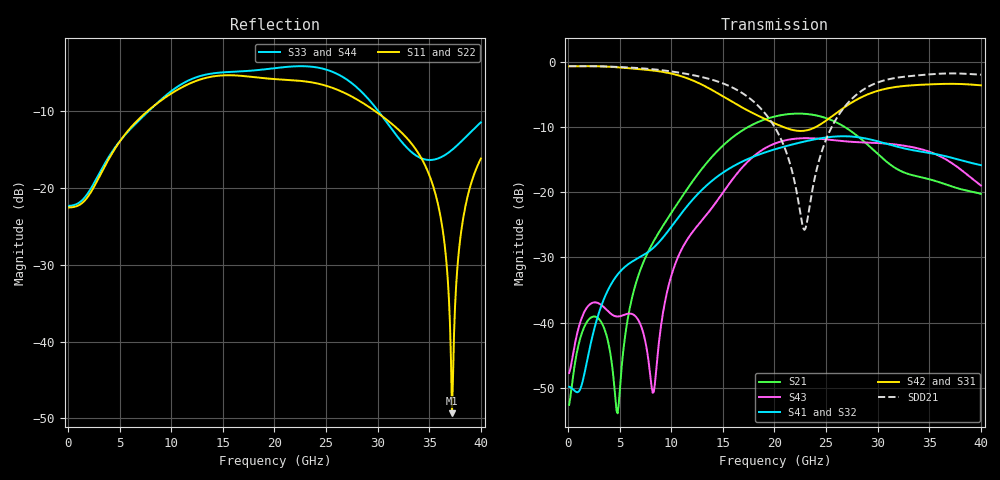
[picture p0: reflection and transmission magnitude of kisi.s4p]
! E_s8_L1L3_p1200_round_g2: pair L1→L3, pitch 1.2 mm, two round antipads, 2 GND vias
! stackup: 8-layer 1.6 mm FR-4 (generic)
! ports: 1 P near, 2 N near, 3 P far, 4 N far
! kisi-fdtd, conformal, dfine 0.0175 mm (the cell at metal ÷ 2), 1765764 cells
# Hz S RI R 50
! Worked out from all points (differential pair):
!   400 points, 100 MHz to 40 GHz, reference 50 ohm
!   strongest paths, dB at 100 MHz, 10.1 GHz, 20.1 GHz, 30.1 GHz, 40 GHz:
!     S42: -0.7, -1.8, -9.5, -4.4, -3.6
!     S31: -0.7, -1.8, -9.5, -4.4, -3.6
!     S41: -49.8, -25.1, -13.4, -12.2, -15.8
!     S32: -49.8, -25.1, -13.4, -12.2, -15.8
!     S43: -47.7, -32.3, -12.5, -12.5, -19.0
!     S21: -52.6, -22.9, -8.4, -14.3, -20.2
!   taken as a pair (ports 2,1 in; 4,3 out), SDD21 dB: -0.7, -1.5, -10.2, -3.1, -2.0
!   lowest |S11| = -49.4 dB at 37.2 GHz (marker M1), VSWR 1.01, Z = 50 + j0.34 ohm
!   |S11| at or under -10 dB: start of sweep to 7.666 GHz; 29.79 GHz to end of sweep
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1e8  -0.0748 -0.000337  -0.0022 0.000804  0.9232 -0.0338  -0.00323 -3.07e-05
     -0.0022 0.000804  -0.0748 -0.000337  -0.00323 -3.07e-05  0.9232 -0.0338
     0.9232 -0.0338  -0.00323 -3.07e-05  -0.0767 -5.85e-05  -0.00396 0.0011
     -0.00323 -3.07e-05  0.9232 -0.0338  -0.00396 0.0011  -0.0767 -5.85e-05
8.2e9  -0.018 0.3382  0.0395 0.0102  -0.8558 -0.0678  0.016 0.0335
       0.0395 0.0102  -0.018 0.3382  0.016 0.0335  -0.8558 -0.0678
       -0.8558 -0.0678  0.016 0.0335  0.00659 0.3368  0.00287 0.000359
       0.016 0.0335  -0.8558 -0.0678  0.00287 0.000359  0.00659 0.3368
1.56e10  0.075 -0.5393  -0.2503 0.0163  0.4522 0.2356  -0.1507 -0.0165
         -0.2503 0.0163  0.075 -0.5393  -0.1507 -0.0165  0.4522 0.2356
         0.4522 0.2356  -0.1507 -0.0165  0.0223 -0.5714  -0.108 0.0417
         -0.1507 -0.0165  0.4522 0.2356  -0.108 0.0417  0.0223 -0.5714
2.28e10  -0.2483 0.4316  0.2815 -0.2842  0.0885 -0.2822  0.0814 -0.2299
         0.2815 -0.2842  -0.2483 0.4316  0.0814 -0.2299  0.0885 -0.2822
         0.0885 -0.2822  0.0814 -0.2299  -0.0697 0.6196  0.0697 -0.2501
         0.0814 -0.2299  0.0885 -0.2822  0.0697 -0.2501  -0.0697 0.6196
3.25e10  -0.011 -0.2234  0.088 0.112  -0.26 0.5984  0.2175 -0.00293
         0.088 0.112  -0.011 -0.2234  0.2175 -0.00293  -0.26 0.5984
         -0.26 0.5984  0.2175 -0.00293  -0.0255 -0.1924  0.2222 -0.0508
         0.2175 -0.00293  -0.26 0.5984  0.2222 -0.0508  -0.0255 -0.1924
3.72e10  -5.9e-05 0.0034  0.0668 -0.0882  0.6568 0.1694  -0.0888 -0.1609
         0.0668 -0.0882  -5.9e-05 0.0034  -0.0888 -0.1609  0.6568 0.1694
         0.6568 0.1694  -0.0888 -0.1609  -0.1762 -0.021  -0.0928 -0.1388
         -0.0888 -0.1609  0.6568 0.1694  -0.0928 -0.1388  -0.1762 -0.021
4e10  0.00919 -0.1556  -0.0491 -0.0838  0.4802 -0.4538  -0.1601 0.0203
      -0.0491 -0.0838  0.00919 -0.1556  -0.1601 0.0203  0.4802 -0.4538
      0.4802 -0.4538  -0.1601 0.0203  -0.1988 0.1807  -0.1105 0.021
      -0.1601 0.0203  0.4802 -0.4538  -0.1105 0.021  -0.1988 0.1807
